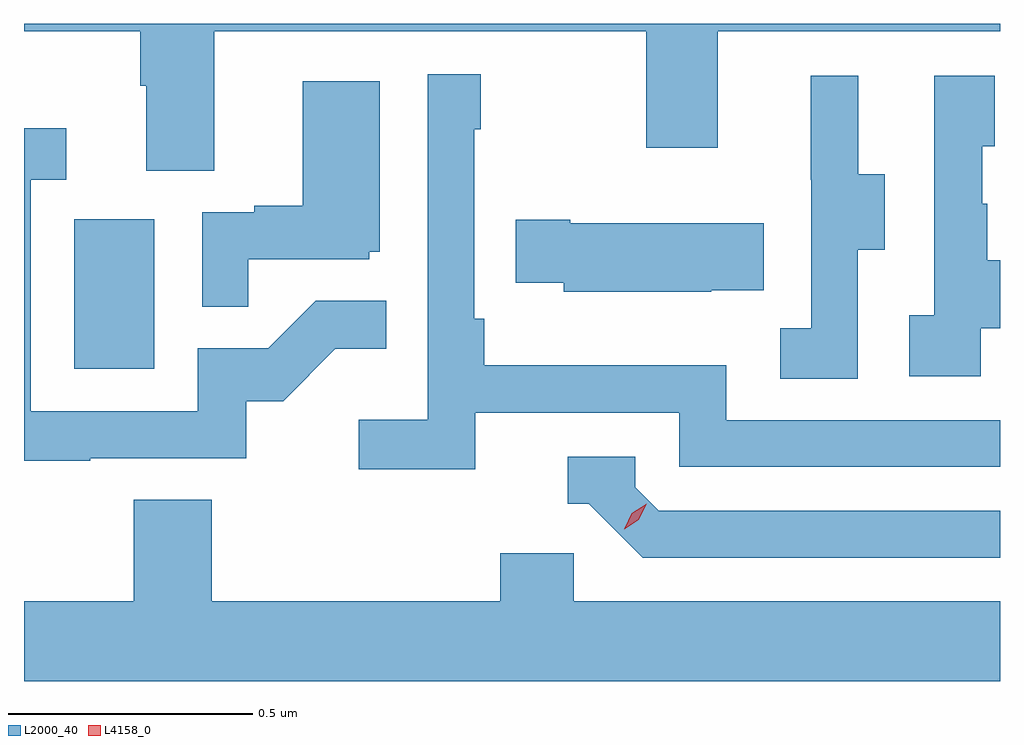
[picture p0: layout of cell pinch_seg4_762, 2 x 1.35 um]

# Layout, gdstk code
import gdstk
lib = gdstk.Library(unit=1e-6, precision=1e-09)
def R(c, l, rs):  # rectangles x0, y0, x1, y1
    for r in rs: c.add(gdstk.rectangle(r[:2], r[2:], *l))
def P(c, l, *ps):  # polygons
    for p in ps: c.add(gdstk.Polygon(p, *l))
L2000_40 = (2000, 40)
L4158_0 = (4158, 0)

pinch_seg4_762 = lib.new_cell('pinch_seg4_762')
R(pinch_seg4_762, L2000_40, [(868.394,832.092,868.558,832.399)])
P(pinch_seg4_762, L2000_40, [(868.681,832.784),(869.566,832.784),(869.566,832.545),(869.713,832.545),(869.713,832.784),(870.291,832.784),(870.291,832.799),(868.291,832.799),(868.291,832.784),(868.529,832.784),(868.529,832.672),(868.541,832.672),(868.541,832.498),(868.681,832.498)],
  [(869.216,832.002),(869.634,832.002),(869.634,831.891),(870.291,831.891),(870.291,831.987),(869.73,831.987),(869.73,832.099),(869.234,832.099),(869.234,832.195),(869.214,832.195),(869.214,832.583),(869.227,832.583),(869.227,832.696),(869.118,832.696),(869.118,831.988),(868.977,831.988),(868.977,831.886),(869.216,831.886)],
  [(870,832.336),(870.055,832.336),(870.055,832.491),(870.001,832.491),(870.001,832.693),(869.903,832.693),(869.903,832.479),(869.904,832.479),(869.904,832.175),(869.841,832.175),(869.841,832.072),(870,832.072)],
  [(870.252,832.175),(870.291,832.175),(870.291,832.315),(870.265,832.315),(870.265,832.43),(870.255,832.43),(870.255,832.548),(870.28,832.548),(870.28,832.693),(870.156,832.693),(870.156,832.202),(870.105,832.202),(870.105,832.077),(870.252,832.077)],
  [(868.751,832.317),(868.998,832.317),(868.998,832.332),(869.02,832.332),(869.02,832.681),(868.862,832.681),(868.862,832.426),(868.763,832.426),(868.763,832.413),(868.656,832.413),(868.656,832.219),(868.751,832.219)],
  [(868.427,831.909),(868.746,831.909),(868.746,832.026),(868.822,832.026),(868.929,832.133),(869.033,832.133),(869.033,832.232),(868.889,832.232),(868.791,832.134),(868.647,832.134),(868.647,832.005),(868.305,832.005),(868.305,832.479),(868.378,832.479),(868.378,832.585),(868.291,832.585),(868.291,831.904),(868.427,831.904)],
  [(869.699,832.253),(869.807,832.253),(869.807,832.39),(869.41,832.39),(869.41,832.398),(869.299,832.398),(869.299,832.268),(869.397,832.268),(869.397,832.25),(869.699,832.25)],
  [(870.291,831.801),(869.592,831.801),(869.544,831.849),(869.544,831.912),(869.405,831.912),(869.405,831.816),(869.448,831.816),(869.559,831.705),(870.291,831.705)],
  [(870.291,831.616),(869.418,831.616),(869.418,831.714),(869.267,831.714),(869.267,831.616),(868.676,831.616),(868.676,831.824),(868.516,831.824),(868.516,831.616),(868.291,831.616),(868.291,831.452),(870.291,831.452)])
P(pinch_seg4_762, L4158_0, [(869.521,831.763),(869.521,831.763),(869.536,831.796),(869.567,831.816),(869.567,831.816),(869.567,831.816),(869.551,831.783),(869.521,831.763)])

lib.write_gds('pinch_seg4_762.gds')
